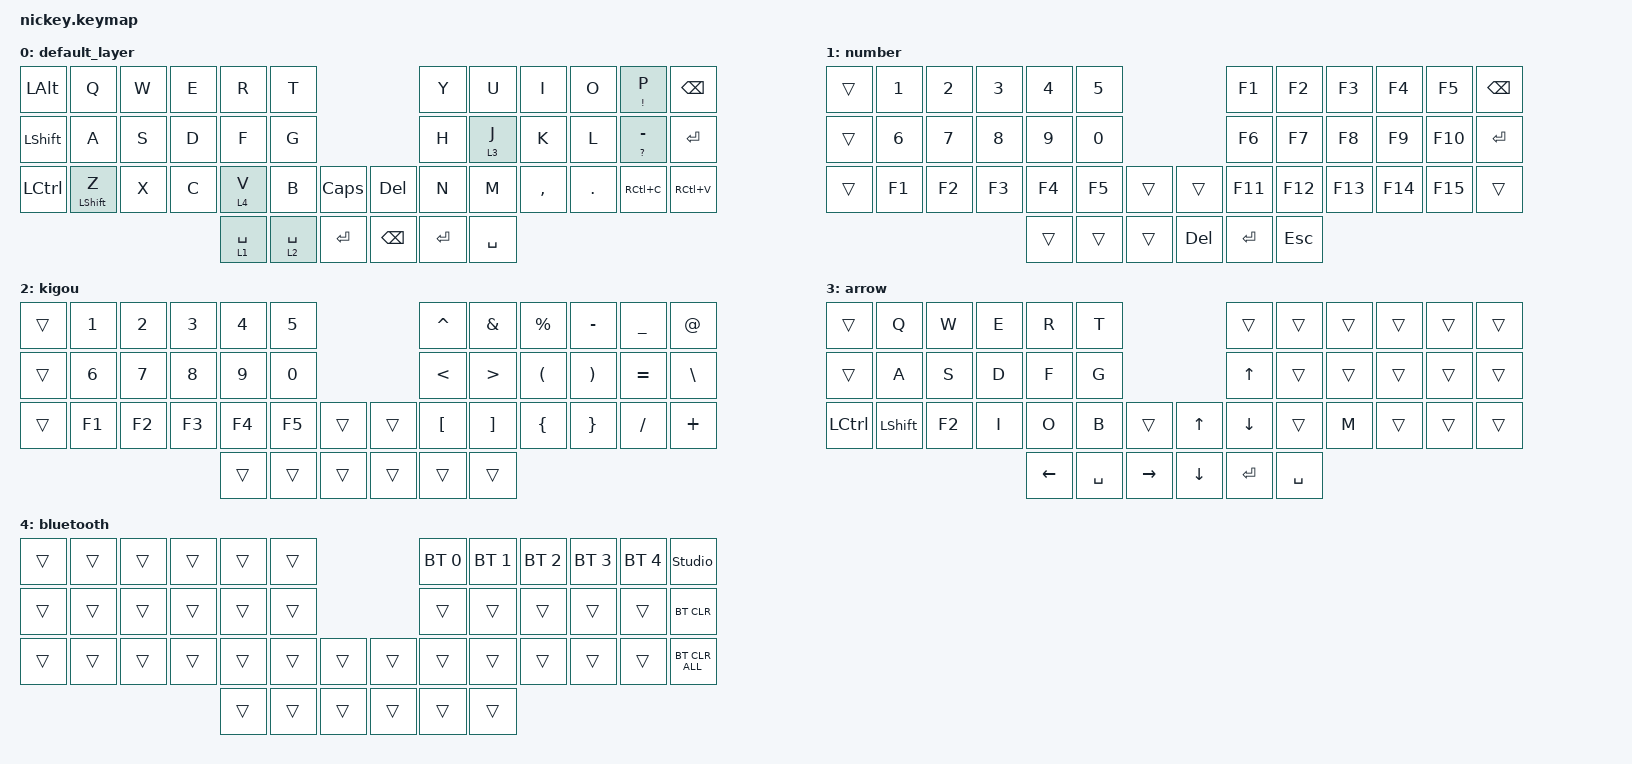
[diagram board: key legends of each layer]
#include <behaviors.dtsi>
#include <dt-bindings/zmk/bt.h>
#include <dt-bindings/zmk/keys.h>

&mt {
    flavor = "balanced";
    quick-tap-ms = <0>;
};

&lt {
    quick-tap-ms = <300>;
    flavor = "balanced";
};

/ {
    combos {
        compatible = "zmk,combos";

        caplock {
            bindings = <&kp CAPS>;
            key-positions = <16 15>;
        };

        ctrl-v {
            bindings = <&kp LC(V)>;
            key-positions = <19 20>;
        };

        escpe {
            bindings = <&kp ESCAPE>;
            key-positions = <0 11>;
        };
    };

    macros {
        to_layer_0: to_layer_0 {
            compatible = "zmk,behavior-macro-one-param";
            #binding-cells = <1>;
            bindings = <&to 0 &macro_param_1to1 &kp MACRO_PLACEHOLDER>;
            label = "TO_LAYER_0";
        };
    };

    behaviors {
        lt_to_layer_0: lt_to_layer_0 {
            compatible = "zmk,behavior-hold-tap";
            label = "LAYER_TAP_TO_0";
            bindings = <&mo>, <&to_layer_0>;

            #binding-cells = <2>;
            tapping-term-ms = <200>;
        };
    };

    keymap {
        compatible = "zmk,keymap";

        default_layer {
            bindings = <
&kp LEFT_ALT      &kp Q             &kp W  &kp E  &kp R        &kp T                                 &kp Y    &kp U      &kp I      &kp O    &mt EXCL P          &kp BACKSPACE
&kp LEFT_SHIFT    &kp A             &kp S  &kp D  &kp F        &kp G                                 &kp H    &lt 3 J    &kp K      &kp L    &mt QUESTION MINUS  &kp ENTER
&kp LEFT_CONTROL  &mt LEFT_SHIFT Z  &kp X  &kp C  &lt 4 V      &kp B        &kp CLCK     &kp DELETE  &kp N    &kp M      &kp COMMA  &kp DOT  &kp RC(C)           &kp RC(V)
                                                  &lt 1 SPACE  &lt 2 SPACE  &kp ENTER    &kp BSPC    &kp RET  &kp SPACE
            >;
        };

        number {
            bindings = <
&trans  &kp NUMBER_1  &kp NUMBER_2  &kp NUMBER_3  &kp NUMBER_4  &kp NUMBER_5                        &kp F1     &kp F2      &kp F3   &kp F4   &kp F5   &kp BACKSPACE
&trans  &kp NUMBER_6  &kp NUMBER_7  &kp NUMBER_8  &kp NUMBER_9  &kp NUMBER_0                        &kp F6     &kp F7      &kp F8   &kp F9   &kp F10  &kp ENTER
&trans  &kp F1        &kp F2        &kp F3        &kp F4        &kp F5        &trans    &trans      &kp F11    &kp F12     &kp F13  &kp F14  &kp F15  &trans
                                                  &trans        &trans        &trans    &kp DELETE  &kp ENTER  &kp ESCAPE
            >;
        };

        kigou {
            bindings = <
&trans  &kp NUMBER_1  &kp NUMBER_2  &kp NUMBER_3  &kp NUMBER_4  &kp NUMBER_5                    &kp CARET         &kp AMPERSAND      &kp PRCNT             &kp MINUS              &kp UNDER  &kp AT
&trans  &kp NUMBER_6  &kp NUMBER_7  &kp NUMBER_8  &kp NUMBER_9  &kp NUMBER_0                    &kp LESS_THAN     &kp GREATER_THAN   &kp LEFT_PARENTHESIS  &kp RIGHT_PARENTHESIS  &kp EQUAL  &kp BACKSLASH
&trans  &kp F1        &kp F2        &kp F3        &kp F4        &kp F5        &trans    &trans  &kp LEFT_BRACKET  &kp RIGHT_BRACKET  &kp LEFT_BRACE        &kp RIGHT_BRACE        &kp SLASH  &kp PLUS
                                                  &trans        &trans        &trans    &trans  &trans            &trans
            >;
        };

        arrow {
            bindings = <
&trans            &kp Q           &kp W   &kp E  &kp R           &kp T                                         &trans          &trans     &trans  &trans  &trans  &trans
&trans            &kp A           &kp S   &kp D  &kp F           &kp G                                         &kp UP_ARROW    &trans     &trans  &trans  &trans  &trans
&kp LEFT_CONTROL  &kp LEFT_SHIFT  &kp F2  &kp I  &kp O           &kp B      &trans             &kp UP_ARROW    &kp DOWN_ARROW  &trans     &kp M   &trans  &trans  &trans
                                                 &kp LEFT_ARROW  &kp SPACE  &kp RIGHT_ARROW    &kp DOWN_ARROW  &kp ENTER       &kp SPACE
            >;
        };

        bluetooth {
            bindings = <
&trans  &trans  &trans  &trans  &trans  &trans                    &bt BT_SEL 0  &bt BT_SEL 1  &bt BT_SEL 2  &bt BT_SEL 3  &bt BT_SEL 4  &studio_unlock
&trans  &trans  &trans  &trans  &trans  &trans                    &trans        &trans        &trans        &trans        &trans        &bt BT_CLR
&trans  &trans  &trans  &trans  &trans  &trans  &trans    &trans  &trans        &trans        &trans        &trans        &trans        &bt BT_CLR_ALL
                                &trans  &trans  &trans    &trans  &trans        &trans
            >;
        };
    };
};
